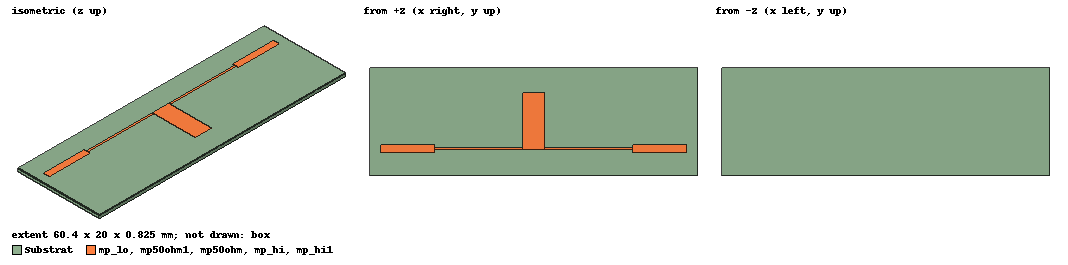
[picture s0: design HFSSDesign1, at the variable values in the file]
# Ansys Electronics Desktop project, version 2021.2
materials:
  vacuum: permittivity=1
  FR4_epoxy: permittivity=4.4 dielectric_loss_tangent=0.02
  copper: permeability=0.999991 conductivity=58000000

design HFSSDesign1 (HFSS, DrivenModal, model units mm)
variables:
  ls = 30mm
  ws = 20mm
  hs = 0.79mm
  wa = 5mm
  hbox = 8mm
  l50 = 10mm
  w50 = 1.45mm
  hcu = 0.035mm
  lhi = 16.2mm
  whi = 0.4mm
  llo = 4mm
  wlo = 10.5mm
  mezera = 2mm
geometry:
  Substrat [FR4_epoxy] = box(corner=(-(2*l50+2*lhi+llo+2*mezera)/2, -wa, 0mm), size=(2*l50+2*lhi+llo+2*mezera, ws, hs))
  box [vacuum] = box(corner=(-(2*l50+2*lhi+llo+2*mezera)/2, -wa, hs), size=(2*l50+2*lhi+llo+2*mezera, ws, hbox))
  mp50ohm [copper] = box(corner=(-l50-llo/2-lhi, -w50/2, hs), size=(l50, w50, hcu))
  mp50ohm1 [copper] = box(corner=(l50+llo/2+lhi, -w50/2, hs), size=(-l50, w50, hcu))
  Rectangle1 = rectangle(corner=(-l50-llo/2-lhi, -w50/2, 0mm), y_size=w50, z_size=hs)
  Rectangle2 = rectangle(corner=(l50+llo/2+lhi, -w50/2, 0mm), y_size=w50, z_size=hs)
  mp_hi [copper] = box(corner=(-llo/2, -whi/2, hs), size=(-lhi, whi, hcu))
  mp_hi1 [copper] = box(corner=(llo/2, -whi/2, hs), size=(lhi, whi, hcu))
  mp_lo [copper] = box(corner=(-llo/2, -whi/2, hs), size=(llo, wlo, hcu))
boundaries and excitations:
  Rad1: Radiation Faces=box.face(+z)
  1: Lumped Port Objects=Rectangle1 Modes{Mode1{IntLine{middle of Rectangle1.edge(z at corner) -> middle of Rectangle1.edge(z opposite corner)} CharImp=Zpi RenormImp=50ohm}} Impedance=50ohm
  2: Lumped Port Objects=Rectangle2 Modes{Mode1{IntLine{middle of Rectangle2.edge(z at corner) -> middle of Rectangle2.edge(z opposite corner)} CharImp=Zpi RenormImp=50ohm}} Impedance=50ohm
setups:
  Setup1: HfssDrivenAuto AutoSolverSetting=Balanced Type=Interpolating
    sweep Sweep: 0.25GHz to 6GHz, 51 points;
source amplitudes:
  1:1: 1W 0deg
  2:1: 0W 0deg
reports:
  S Parameter Plot 1: dB(S(1,1)), dB(S(2,1)) vs Freq on Setup1 : Sweep
